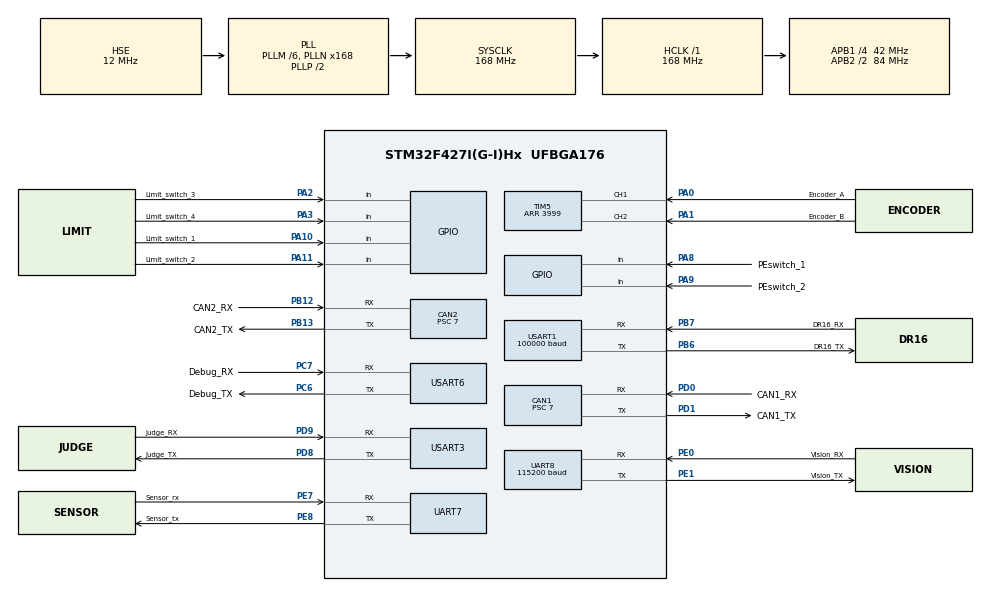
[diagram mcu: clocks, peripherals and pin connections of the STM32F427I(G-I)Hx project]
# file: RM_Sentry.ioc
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CAN1.ABOM=ENABLE
CAN1.AWUM=ENABLE
CAN1.BS1=CAN_BS1_3TQ
CAN1.BS2=CAN_BS2_2TQ
CAN1.CalculateTimeQuantum=166.66666666666669
CAN1.NART=ENABLE
CAN1.Prescaler=7
CAN2.ABOM=ENABLE
CAN2.AWUM=ENABLE
CAN2.BS1=CAN_BS1_3TQ
CAN2.BS2=CAN_BS2_2TQ
CAN2.CalculateTimeQuantum=166.66666666666669
CAN2.NART=ENABLE
CAN2.Prescaler=7
Dma.Request0=USART1_RX
Dma.Request1=UART8_RX
Dma.Request2=USART3_RX
Dma.Request3=UART7_RX
Dma.UART7_RX.3.Direction=DMA_PERIPH_TO_MEMORY
Dma.UART7_RX.3.FIFOMode=DMA_FIFOMODE_DISABLE
Dma.UART7_RX.3.Instance=DMA1_Stream3
Dma.UART7_RX.3.MemDataAlignment=DMA_MDATAALIGN_BYTE
Dma.UART7_RX.3.MemInc=DMA_MINC_ENABLE
Dma.UART7_RX.3.Mode=DMA_CIRCULAR
Dma.UART7_RX.3.PeriphDataAlignment=DMA_PDATAALIGN_BYTE
Dma.UART7_RX.3.PeriphInc=DMA_PINC_DISABLE
Dma.UART7_RX.3.Priority=DMA_PRIORITY_MEDIUM
Dma.UART8_RX.1.Direction=DMA_PERIPH_TO_MEMORY
Dma.UART8_RX.1.FIFOMode=DMA_FIFOMODE_DISABLE
Dma.UART8_RX.1.Instance=DMA1_Stream6
Dma.UART8_RX.1.MemDataAlignment=DMA_MDATAALIGN_BYTE
Dma.UART8_RX.1.MemInc=DMA_MINC_ENABLE
Dma.UART8_RX.1.Mode=DMA_CIRCULAR
Dma.UART8_RX.1.PeriphDataAlignment=DMA_PDATAALIGN_BYTE
Dma.UART8_RX.1.PeriphInc=DMA_PINC_DISABLE
Dma.UART8_RX.1.Priority=DMA_PRIORITY_MEDIUM
Dma.USART1_RX.0.Direction=DMA_PERIPH_TO_MEMORY
Dma.USART1_RX.0.FIFOMode=DMA_FIFOMODE_DISABLE
Dma.USART1_RX.0.Instance=DMA2_Stream2
Dma.USART1_RX.0.MemDataAlignment=DMA_MDATAALIGN_BYTE
Dma.USART1_RX.0.MemInc=DMA_MINC_ENABLE
Dma.USART1_RX.0.Mode=DMA_CIRCULAR
Dma.USART1_RX.0.PeriphDataAlignment=DMA_PDATAALIGN_BYTE
Dma.USART1_RX.0.PeriphInc=DMA_PINC_DISABLE
Dma.USART1_RX.0.Priority=DMA_PRIORITY_MEDIUM
Dma.USART3_RX.2.Direction=DMA_PERIPH_TO_MEMORY
Dma.USART3_RX.2.FIFOMode=DMA_FIFOMODE_DISABLE
Dma.USART3_RX.2.Instance=DMA1_Stream1
Dma.USART3_RX.2.MemDataAlignment=DMA_MDATAALIGN_BYTE
Dma.USART3_RX.2.MemInc=DMA_MINC_ENABLE
Dma.USART3_RX.2.Mode=DMA_CIRCULAR
Dma.USART3_RX.2.PeriphDataAlignment=DMA_PDATAALIGN_BYTE
Dma.USART3_RX.2.PeriphInc=DMA_PINC_DISABLE
Dma.USART3_RX.2.Priority=DMA_PRIORITY_LOW
FREERTOS.INCLUDE_vTaskDelayUntil=1
FREERTOS.Tasks01=Task_Robot_Init,0,128,Robot_Init,Default,NULL,Dynamic,NULL,NULL;Task_Can1_Receive,2,256,Can1_Receive,Default,NULL,Dynamic,NULL,NULL;Task_Can2_Reivece,2,256,Can2_Reivece,Default,NULL,Dynamic,NULL,NULL;Task_Show_Debug,-1,128,Show_Debug,Default,NULL,Dynamic,NULL,NULL;Task_Data_Updata,2,256,Data_Updata,Default,NULL,Dynamic,NULL,NULL;Task_Vision_SendD,0,128,Vision_SendD,Default,NULL,Dynamic,NULL,NULL;Robot_Detec_Task,1,128,Robot_Detec,Default,NULL,Dynamic,NULL,NULL
FREERTOS.configGENERATE_RUN_TIME_STATS=0
FREERTOS.configMAX_TASK_NAME_LEN=18
FREERTOS.configUSE_COUNTING_SEMAPHORES=0
FREERTOS.configUSE_STATS_FORMATTING_FUNCTIONS=0
Mcu.Family=STM32F4
Mcu.Name=STM32F427I(G-I)Hx
Mcu.Package=UFBGA176
NVIC.CAN1_RX0_IRQn=true\:6\:0\:true\:false\:true\:true\:true\:true
NVIC.CAN2_RX0_IRQn=true\:6\:0\:true\:false\:true\:true\:true\:true
NVIC.PriorityGroup=NVIC_PRIORITYGROUP_4
NVIC.TIM6_DAC_IRQn=true\:0\:0\:false\:false\:true\:false\:true\:true
NVIC.TimeBase=TIM6_DAC_IRQn
NVIC.TimeBaseIP=TIM6
NVIC.UART7_IRQn=true\:7\:0\:true\:false\:true\:true\:true\:true
NVIC.UART8_IRQn=true\:7\:0\:true\:false\:true\:true\:true\:true
NVIC.USART1_IRQn=true\:7\:0\:true\:false\:true\:true\:true\:true
NVIC.USART3_IRQn=true\:7\:0\:true\:false\:true\:true\:true\:true
PA0/WKUP.GPIO_Label=Encoder_A
PA0/WKUP.GPIO_PuPd=GPIO_PULLUP
PA0/WKUP.GPIO_Speed=GPIO_SPEED_FREQ_HIGH
PA0/WKUP.Signal=S_TIM5_CH1
PA1.GPIO_Label=Encoder_B
PA1.GPIO_PuPd=GPIO_PULLUP
PA1.GPIO_Speed=GPIO_SPEED_FREQ_HIGH
PA1.Signal=S_TIM5_CH2
PA10.GPIO_Label=Limit_switch_1
PA10.GPIO_PuPd=GPIO_PULLUP
PA10.Signal=GPIO_Input
PA11.GPIO_Label=Limit_switch_2
PA11.GPIO_PuPd=GPIO_PULLUP
PA11.Signal=GPIO_Input
PA13.Mode=Serial_Wire
PA13.Signal=SYS_JTMS-SWDIO
PA14.Mode=Serial_Wire
PA14.Signal=SYS_JTCK-SWCLK
PA2.GPIO_Label=Limit_switch_3
PA2.GPIO_PuPd=GPIO_PULLUP
PA2.Signal=GPIO_Input
PA3.GPIO_Label=Limit_switch_4
PA3.GPIO_PuPd=GPIO_PULLUP
PA3.Signal=GPIO_Input
PA8.GPIO_Label=PEswitch_1
PA8.GPIO_PuPd=GPIO_PULLUP
PA8.Signal=GPIO_Input
PA9.GPIO_Label=PEswitch_2
PA9.GPIO_PuPd=GPIO_PULLUP
PA9.Signal=GPIO_Input
PB12.GPIO_Label=CAN2_RX
PB12.Mode=Slave
PB12.Signal=CAN2_RX
PB13.GPIO_Label=CAN2_TX
PB13.Mode=Slave
PB13.Signal=CAN2_TX
PB6.GPIO_Label=DR16_TX
PB6.Mode=Asynchronous
PB6.Signal=USART1_TX
PB7.GPIO_Label=DR16_RX
PB7.Mode=Asynchronous
PB7.Signal=USART1_RX
PC6.GPIO_Label=Debug_TX
PC6.Mode=Asynchronous
PC6.Signal=USART6_TX
PC7.GPIO_Label=Debug_RX
PC7.Mode=Asynchronous
PC7.Signal=USART6_RX
PD0.GPIO_Label=CAN1_RX
PD0.Mode=Master
PD0.Signal=CAN1_RX
PD1.GPIO_Label=CAN1_TX
PD1.Mode=Master
PD1.Signal=CAN1_TX
PD8.GPIO_Label=Judge_TX
PD8.Mode=Asynchronous
PD8.Signal=USART3_TX
PD9.GPIO_Label=Judge_RX
PD9.Mode=Asynchronous
PD9.Signal=USART3_RX
PE0.GPIO_Label=Vision_RX
PE0.Mode=Asynchronous
PE0.Signal=UART8_RX
PE1.GPIO_Label=Vision_TX
PE1.Mode=Asynchronous
PE1.Signal=UART8_TX
PE7.GPIO_Label=Sensor_rx
PE7.Mode=Asynchronous
PE7.Signal=UART7_RX
PE8.GPIO_Label=Sensor_tx
PE8.Mode=Asynchronous
PE8.Signal=UART7_TX
PH0/OSC_IN.Mode=HSE-External-Oscillator
PH0/OSC_IN.Signal=RCC_OSC_IN
PH1/OSC_OUT.Mode=HSE-External-Oscillator
PH1/OSC_OUT.Signal=RCC_OSC_OUT
ProjectManager.HeapSize=0x200
ProjectManager.StackSize=0x400
ProjectManager.TargetToolchain=MDK-ARM V5.27
RCC.48MHZClocksFreq_Value=48000000
RCC.AHBFreq_Value=168000000
RCC.APB1CLKDivider=RCC_HCLK_DIV4
RCC.APB1Freq_Value=42000000
RCC.APB1TimFreq_Value=84000000
RCC.APB2CLKDivider=RCC_HCLK_DIV2
RCC.APB2Freq_Value=84000000
RCC.APB2TimFreq_Value=168000000
RCC.CortexFreq_Value=168000000
RCC.HCLKFreq_Value=168000000
RCC.HSE_VALUE=12000000
RCC.HSI_VALUE=16000000
RCC.LSE_VALUE=32768
RCC.PLLM=6
RCC.PLLN=168
RCC.PLLQ=7
RCC.PLLSourceVirtual=RCC_PLLSOURCE_HSE
RCC.SYSCLKFreq_VALUE=168000000
RCC.SYSCLKSource=RCC_SYSCLKSOURCE_PLLCLK
RCC.VCOOutputFreq_Value=336000000
SH.S_TIM5_CH1.0=TIM5_CH1,Encoder_Interface
SH.S_TIM5_CH2.0=TIM5_CH2,Encoder_Interface
TIM5.EncoderMode=TIM_ENCODERMODE_TI12
TIM5.Period=3999
UART7.VirtualMode=Asynchronous
UART8.BaudRate=115200
UART8.VirtualMode=Asynchronous
USART1.BaudRate=100000
USART1.VirtualMode=VM_ASYNC
USART3.VirtualMode=VM_ASYNC
USART6.VirtualMode=VM_ASYNC
VP_FREERTOS_VS_CMSIS_V1.Mode=CMSIS_V1
VP_RNG_VS_RNG.Mode=RNG_Activate
VP_SYS_VS_tim6.Mode=TIM6
board=custom

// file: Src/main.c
/* USER CODE BEGIN Header */
/**
  ******************************************************************************
  * @file           : main.c
  * @brief          : Main program body
  ******************************************************************************
  * @attention
  *
  * <h2><center>&copy; Copyright (c) 2021 STMicroelectronics.
  * All rights reserved.</center></h2>
  *
  * This software component is licensed by ST under Ultimate Liberty license
  * SLA0044, the "License"; You may not use this file except in compliance with
  * the License. You may obtain a copy of the License at:
  *                             www.st.com/SLA0044
  *
  ******************************************************************************
  */
/* USER CODE END Header */
#include "main.h"
#include "cmsis_os.h"
#include "can.h"
#include "dma.h"
#include "rng.h"
#include "tim.h"
#include "usart.h"
#include "gpio.h"

void SystemClock_Config(void);
void MX_FREERTOS_Init(void);

int main(void)
{

  /* MCU Configuration--------------------------------------------------------*/

  /* Reset of all peripherals, Initializes the Flash interface and the Systick. */
  HAL_Init();

  /* Configure the system clock */
  SystemClock_Config();

  /* Initialize all configured peripherals */
  MX_GPIO_Init();
  MX_DMA_Init();
  MX_CAN1_Init();
  MX_CAN2_Init();
  MX_USART1_UART_Init();
  MX_UART8_Init();
  MX_USART6_UART_Init();
  MX_USART3_UART_Init();
  MX_TIM5_Init();
  MX_RNG_Init();
  MX_UART7_Init();

  /* Call init function for freertos objects (in freertos.c) */
  MX_FREERTOS_Init();
  /* Start scheduler */
  osKernelStart();

  /* We should never get here as control is now taken by the scheduler */
  /* Infinite loop */
  while (1)
  {

  }
}

void SystemClock_Config(void)
{
  RCC_OscInitTypeDef RCC_OscInitStruct = {0};
  RCC_ClkInitTypeDef RCC_ClkInitStruct = {0};

  /** Configure the main internal regulator output voltage
  */
  __HAL_RCC_PWR_CLK_ENABLE();
  __HAL_PWR_VOLTAGESCALING_CONFIG(PWR_REGULATOR_VOLTAGE_SCALE1);
  /** Initializes the RCC Oscillators according to the specified parameters
  * in the RCC_OscInitTypeDef structure.
  */
  RCC_OscInitStruct.OscillatorType = RCC_OSCILLATORTYPE_HSE;
  RCC_OscInitStruct.HSEState = RCC_HSE_ON;
  RCC_OscInitStruct.PLL.PLLState = RCC_PLL_ON;
  RCC_OscInitStruct.PLL.PLLSource = RCC_PLLSOURCE_HSE;
  RCC_OscInitStruct.PLL.PLLM = 6;
  RCC_OscInitStruct.PLL.PLLN = 168;
  RCC_OscInitStruct.PLL.PLLP = RCC_PLLP_DIV2;
  RCC_OscInitStruct.PLL.PLLQ = 7;
  if (HAL_RCC_OscConfig(&RCC_OscInitStruct) != HAL_OK)
  {
    Error_Handler();
  }
  /** Initializes the CPU, AHB and APB buses clocks
  */
  RCC_ClkInitStruct.ClockType = RCC_CLOCKTYPE_HCLK|RCC_CLOCKTYPE_SYSCLK
                              |RCC_CLOCKTYPE_PCLK1|RCC_CLOCKTYPE_PCLK2;
  RCC_ClkInitStruct.SYSCLKSource = RCC_SYSCLKSOURCE_PLLCLK;
  RCC_ClkInitStruct.AHBCLKDivider = RCC_SYSCLK_DIV1;
  RCC_ClkInitStruct.APB1CLKDivider = RCC_HCLK_DIV4;
  RCC_ClkInitStruct.APB2CLKDivider = RCC_HCLK_DIV2;

  if (HAL_RCC_ClockConfig(&RCC_ClkInitStruct, FLASH_LATENCY_5) != HAL_OK)
  {
    Error_Handler();
  }
}

void HAL_TIM_PeriodElapsedCallback(TIM_HandleTypeDef *htim)
{
  if (htim->Instance == TIM6) {
    HAL_IncTick();
  }
}

void Error_Handler(void)
{
}

/************************ (C) COPYRIGHT STMicroelectronics *****END OF FILE****/

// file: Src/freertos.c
/* USER CODE BEGIN Header */
/**
 ******************************************************************************
 * File Name          : freertos.c
 * Description        : Code for freertos applications
 ******************************************************************************
 * @attention
 *
 * <h2><center>&copy; Copyright (c) 2021 STMicroelectronics.
 * All rights reserved.</center></h2>
 *
 * This software component is licensed by ST under Ultimate Liberty license
 * SLA0044, the "License"; You may not use this file except in compliance with
 * the License. You may obtain a copy of the License at:
 *                             www.st.com/SLA0044
 *
 ******************************************************************************
 */
/* USER CODE END Header */

#include "FreeRTOS.h"
#include "task.h"
#include "main.h"
#include "cmsis_os.h"

/* USER CODE BEGIN Includes */
#include "User_common.h"
#include "Handle.h"
#include "BREAK.h"

/* USER CODE END Includes */

/* USER CODE BEGIN Variables */

// CAN队列句柄
osMessageQId CAN1_Queue;
osMessageQId CAN2_Queue;
//控制任务句柄
osThreadId RobotCtrl_Handle;
//任务入口函数
void Robot_Control(void const *argument);

/* USER CODE END Variables */
osThreadId Task_Robot_InitHandle;
osThreadId Task_Can1_ReceiveHandle;
osThreadId Task_Can2_ReiveceHandle;
osThreadId Task_Show_DebugHandle;
osThreadId Task_Data_UpdataHandle;
osThreadId Task_Vision_SendDHandle;
osThreadId Robot_Detec_TaskHandle;

void Robot_Init(void const *argument);
void Can1_Receive(void const *argument);
void Can2_Reivece(void const *argument);
void Show_Debug(void const *argument);
void Data_Updata(void const *argument);
void Vision_SendD(void const *argument);
void Robot_Detec(void const *argument);

void MX_FREERTOS_Init(void); /* (MISRA C 2004 rule 8.1) */

/* GetIdleTaskMemory prototype (linked to static allocation support) */
void vApplicationGetIdleTaskMemory(StaticTask_t **ppxIdleTaskTCBBuffer, StackType_t **ppxIdleTaskStackBuffer, uint32_t *pulIdleTaskStackSize);

/* USER CODE BEGIN GET_IDLE_TASK_MEMORY */
static StaticTask_t xIdleTaskTCBBuffer;
static StackType_t xIdleStack[configMINIMAL_STACK_SIZE];

void vApplicationGetIdleTaskMemory(StaticTask_t **ppxIdleTaskTCBBuffer, StackType_t **ppxIdleTaskStackBuffer, uint32_t *pulIdleTaskStackSize)
{
	*ppxIdleTaskTCBBuffer = &xIdleTaskTCBBuffer;
	*ppxIdleTaskStackBuffer = &xIdleStack[0];
	*pulIdleTaskStackSize = configMINIMAL_STACK_SIZE;
	/* place for user code */
}
/* USER CODE END GET_IDLE_TASK_MEMORY */

void MX_FREERTOS_Init(void)
{

	/* USER CODE BEGIN RTOS_QUEUES */
	/* add queues, ... */

	CAN1_Queue = xQueueCreate(32, sizeof(CAN_Rx_TypeDef));
	CAN2_Queue = xQueueCreate(32, sizeof(CAN_Rx_TypeDef));

	/* USER CODE END RTOS_QUEUES */

	/* Create the thread(s) */
	/* definition and creation of Task_Robot_Init */
	osThreadDef(Task_Robot_Init, Robot_Init, osPriorityNormal, 0, 128);
	Task_Robot_InitHandle = osThreadCreate(osThread(Task_Robot_Init), NULL);

	/* definition and creation of Task_Can1_Receive */
	osThreadDef(Task_Can1_Receive, Can1_Receive, osPriorityHigh, 0, 256);
	Task_Can1_ReceiveHandle = osThreadCreate(osThread(Task_Can1_Receive), NULL);

	/* definition and creation of Task_Can2_Reivece */
	osThreadDef(Task_Can2_Reivece, Can2_Reivece, osPriorityHigh, 0, 256);
	Task_Can2_ReiveceHandle = osThreadCreate(osThread(Task_Can2_Reivece), NULL);

	/* definition and creation of Task_Show_Debug */
	osThreadDef(Task_Show_Debug, Show_Debug, osPriorityBelowNormal, 0, 128);
	Task_Show_DebugHandle = osThreadCreate(osThread(Task_Show_Debug), NULL);

	/* definition and creation of Task_Data_Updata */
	osThreadDef(Task_Data_Updata, Data_Updata, osPriorityHigh, 0, 256);
	Task_Data_UpdataHandle = osThreadCreate(osThread(Task_Data_Updata), NULL);

	/* definition and creation of Task_Vision_SendD */
	osThreadDef(Task_Vision_SendD, Vision_SendD, osPriorityNormal, 0, 128);
	Task_Vision_SendDHandle = osThreadCreate(osThread(Task_Vision_SendD), NULL);

	/* definition and creation of Robot_Detec_Task */
	osThreadDef(Robot_Detec_Task, Robot_Detec, osPriorityAboveNormal, 0, 128);
	Robot_Detec_TaskHandle = osThreadCreate(osThread(Robot_Detec_Task), NULL);

}

void Robot_Init(void const *argument)
{
	/* USER CODE BEGIN Robot_Init */
	/* Infinite loop */

	// DR16
	__HAL_UART_CLEAR_IDLEFLAG(&huart1);

	__HAL_UART_ENABLE_IT(&huart1, UART_IT_IDLE);

	USART_RX_DMA_ENABLE(&huart1, DR16_RxBUFF, DR16_RxBUFF_LEN + 2);

	// Sensor_R
	__HAL_UART_CLEAR_IDLEFLAG(&huart7);

	__HAL_UART_ENABLE_IT(&huart7, UART_IT_IDLE);

	USART_RX_DMA_ENABLE(&huart7, SENSOR_R_DataBuff, SENSOR_BuffSize);

	// Sensor_L
	__HAL_UART_CLEAR_IDLEFLAG(&huart8);

	__HAL_UART_ENABLE_IT(&huart8, UART_IT_IDLE);

	USART_RX_DMA_ENABLE(&huart8, SENSOR_L_DataBuff, SENSOR_BuffSize);

		//【21赛季】
		//视觉
//		__HAL_UART_CLEAR_IDLEFLAG(&huart8);

//		__HAL_UART_ENABLE_IT(&huart8, UART_IT_IDLE);

//		USART_RX_DMA_ENABLE(&huart8, Vision_DataBuff, Vision_BuffSize);

	//裁判系统
	__HAL_UART_CLEAR_IDLEFLAG(&huart3);

	__HAL_UART_ENABLE_IT(&huart3, UART_IT_IDLE);

	USART_RX_DMA_ENABLE(&huart3, JudgeSystem_rxBuff, JUDGESYSTEM_PACKSIZE);

	//编码器模式初始化
	// AB
	HAL_TIM_Encoder_Start(&htim5, TIM_CHANNEL_ALL);

	//先使能设备，确保CAN可以正常通讯，可以获取电机启动前的数据
	// CAN总线的初始化
	CAN1_Config();

	CAN2_Config();

	//上位机的初始化
	__HAL_UART_ENABLE(&huart6);

	//由于使能了CAN中断，所以CAN中断会打断任务，而进行CAN通讯，从而获得数据
	//获取数据后会发给队列，而队列不为空，则CAN_Reivece任务就解除阻塞态
	//在CAN_Reivece中根据对应的ID解析不同的数据，从而获取各电机的数据
	//而此过程需要时间，得等待数据稳定
	HAL_Delay(6000);

	//控制的初始化
	//有了电机启动前的初始数据，所以要对控制进行初始化，防止炸机
	//而为了CAN队列有数据时，CAN_Reivece就可以解析数据，所以CAN_Reivece任务优先级得高于Robot_Init任务
	//而下面初始化控制却不能被高优先级任务给打断
	//所以应该进入临界区
	//为什么进入临界区就可以呢？因为进入临界区，CAN中断就会被屏蔽，CAN中断被屏蔽了就无法传输数据，CAN队列就无数据，CAN_Reivece任务就被阻塞
	taskENTER_CRITICAL(); //进入临界区

	//控制状态的初始化
	Robots_Control_FUN.Init_RobotStatus();
	//云台的初始化
	Cloud_FUN.Cloud_Init();
	//底盘初始化
	Chassis_FUN.Chassis_Init();
	//视觉初始化
	Vision_Control_Init();
	//攻击初始化
	Attack_FUN.Attack_Init();

	//控制初始化完成后，要创建控制任务
	//由于控制任务的优先级只能设为最高，不然控制起来会很飘。
	//而且只能在控制初始化完之后才可以控制。
	//所以只能在控制初始化中去创建此任务
	/*
	xTaskCreate((TaskFunction_t)Robot_Control,
				(const char *)"Task_Robot_Control",
				(configSTACK_DEPTH_TYPE)RobotCtrl_Size,
				(void *)NULL,
				(UBaseType_t)RobotCtrl_Priority,
				(TaskHandle_t *)&RobotCtrl_Handle);
	*/
	osThreadDef(Task_Robot_Control, Robot_Control, RobotCtrl_Priority, 0, RobotCtrl_Size);
	RobotCtrl_Handle = osThreadCreate(osThread(Task_Robot_Control), NULL);

	taskEXIT_CRITICAL(); //退出临界区

	//由于初始化任务只需执行一次，执行完后就可以删除了
	vTaskDelete(NULL);

	//由于初始化函数只需执行一次，所以无需死循环
	//  for(;;)
	//  {
	//    osDelay(1);
	//  }
	/* USER CODE END Robot_Init */
}

void Can1_Receive(void const *argument)
{
	/* USER CODE BEGIN Can1_Receive */

	// CAN1接收队列发送的数据的结构体变量
	CAN_Rx_TypeDef CAN1_Rx_Structure;

	//出队的状态变量
	BaseType_t ExitQueue_Status;

	/* Infinite loop */
	for (;;)
	{
		//死等队列有消息
		ExitQueue_Status = xQueueReceive(CAN1_Queue, &CAN1_Rx_Structure, portMAX_DELAY);
		//出队成功
		if (ExitQueue_Status == pdTRUE)
		{
			/*Cloud*/
			if (CAN1_Rx_Structure.CAN_RxMessage.StdId == GM6020_READID_START)
			{
				//云台的yaw轴
				GM6020_Yaw_getInfo(CAN1_Rx_Structure);
			}
			if (CAN1_Rx_Structure.CAN_RxMessage.StdId == (GM6020_READID_START + 1))
			{
				//云台Pitch轴
				GM6020_Pitch_getInfo(CAN1_Rx_Structure);
			}
			/*Shoot*/
//			if (CAN1_Rx_Structure.CAN_RxMessage.StdId == M3508s1_START || CAN1_Rx_Structure.CAN_RxMessage.StdId == (M3508s1_START + 1))
//			{
//				M3508s1_getInfo(CAN1_Rx_Structure);
//			}
//			if (CAN1_Rx_Structure.CAN_RxMessage.StdId == M2006_READID_START + 2)
//			{
//				M2006_getInfo(CAN1_Rx_Structure);
//			}
			/*Chassis*/
			if (CAN1_Rx_Structure.CAN_RxMessage.StdId == M3508_READID_START + 3 || CAN1_Rx_Structure.CAN_RxMessage.StdId == M3508_READID_START + 2)
			{
				M3508_getInfo(CAN1_Rx_Structure);
			}

		}

		//    osDelay(1);
	}
	/* USER CODE END Can1_Receive */
}

void Can2_Reivece(void const *argument)
{
	/* USER CODE BEGIN Can2_Reivece */
	// CAN2接收队列发送的数据的结构体变量
	CAN_Rx_TypeDef CAN2_Rx_Structure;
	//出队的状态变量
	BaseType_t ExitQueue_Status;

	/* Infinite loop */
	for (;;)
	{
		//死等队列有消息
		ExitQueue_Status = xQueueReceive(CAN2_Queue, &CAN2_Rx_Structure, portMAX_DELAY);
		//出队成功
		if (ExitQueue_Status == pdTRUE)
		{
			/*DJIC_IMU*/
			// IMU_Euler
			if (CAN2_Rx_Structure.CAN_RxMessage.StdId == DJI_C_Angle)
			{
				DJI_C_Euler_getInfo(CAN2_Rx_Structure);
			}
			// Gyro
			if (CAN2_Rx_Structure.CAN_RxMessage.StdId == DJI_C_Gyro)
			{
				DJI_C_Gyro_getInfo(CAN2_Rx_Structure);
			}
		}

		//    osDelay(1);
	}
	/* USER CODE END Can2_Reivece */
}

/* USER CODE BEGIN Header_Show_Debug */
/**
 * @brief Function implementing the Task_Show_Debug thread.
 * @param argument: Not used
 * @retval None
 */

// uint32_t Control_FPS;
// uint32_t Control_LastWorldTimes;
/* USER CODE END Header_Show_Debug */
void Show_Debug(void const *argument)
{
	/* USER CODE BEGIN Show_Debug */
	/* Infinite loop */
	for (;;)
	{
		//		Debug_addData(Cloud.Yaw_Angle_pid->result,2);
		//		Debug_addData (*Cloud.gyro_z,3);
		//		Debug_addData(ext_game_robot_state.data.shooter_id1_17mm_cooling_rate,2);
		//		Debug_addData(ext_game_robot_state.data.shooter_id1_17mm_cooling_limit,3);
		//		Debug_addData(Barrel.user_realHeat,4);
		//		Debug_addData(Barrel.judge_realHeat,5);
		//
		//		Debug_show(6);
		ANO_Send_Data_Init(0, 0, ext_power_heat_data.data.chassis_power_buffer, 0, Chassis.EM->targetSpeed, Chassis.EM->realSpeed, 0, 0);
		ANO_Send_Data_V4();

		//输出速率不可过快
		vTaskDelay(5);
	}
	/* USER CODE END Show_Debug */
}

void Data_Updata(void const *argument)
{
	/* USER CODE BEGIN Data_Updata */
	portTickType xLastWakeTime;
	xLastWakeTime = xTaskGetTickCount();
	const TickType_t TimeIncrement = pdMS_TO_TICKS(1); //每十毫秒强制进入总控制
	/* Infinite loop */
	for (;;)
	{
		//更新传感器数据
		Chassis_FUN.Updata_Chassis_Sensor();
		//跟新陀螺仪数据
		Updata_Hand_Euler_Gyro_Data();
		//更新视觉数据
		Updata_VisionData_Hand();
		//更新发送给视觉的陀螺仪数据
		// Updata_SendVision_Stata();

		//数据更新任务只用来更新传感器的就可以了，其他控制标志位的，不要在此更新，在控制中更新，保证时序的一致
		//更新控制状态
		Robots_Control_FUN.Updata_RobotStatus();

		vTaskDelayUntil(&xLastWakeTime, TimeIncrement);
	}
	/* USER CODE END Data_Updata */
}

void Vision_SendD(void const *argument)
{
	/* USER CODE BEGIN Vision_SendD */
	/* Infinite loop */
	for (;;)
	{
		//  Update_Vision_SendData();
		if (send_to_C == 1) //遥控器数据
		{
			DR16_send_master_control();
			// send_to_C_times++;
			send_to_C = 0;
		}
		if (send_to_C_JS_HURT == 1) //伤害状态数据，伤害发生后发送
		{
			JS_send_HURT_control();
			send_to_C_JS_HURT = 0;

		}
		if (send_to_C_JS_SHOOT == 1) //实时射击数据，子弹发射后发送
		{
			JS_send_SHOOT_control();
			// JS_SEND_times++;
			send_to_C_JS_SHOOT = 0;
		}
		if (send_to_C_JS_STATUS == 1) //裁判系统_状态数据_10Hz 周期发送
		{
			// send_to_C_STATUS_times++;
			JS_send_STATUS_control();
			send_to_C_JS_STATUS = 0;
		}
		if (send_to_C_JS_HEAT == 1)
		{
			JS_send_HEAT_control();
			send_to_C_JS_HEAT = 0;
		}
		if(send_to_C_JS_ROBOTHP == 1)
		{
			JS_send_robotHP_control();
			send_to_C_JS_ROBOTHP = 0;
		}
		if(send_to_C_JS_GAMESTATUS == 1)
		{
			JS_send_gamestatus_control();
			send_to_C_JS_GAMESTATUS = 0;
		}

		if (send_to_C_IN_END == 1)
		{
			PLACE_send_control();
			//	place_SEND_times++;
			send_to_C_IN_END = 0;
		}
		if(send_to_C_B0_FLAG == 1)
		{
			disturbB0_send_control();
			send_to_C_B0_FLAG = 0;
		}

		//编码器值
		Encoder_Send_control();

		//		Update_Vision_SendData();
		vTaskDelay(1);
	}
	/* USER CODE END Vision_SendD */
}

void Robot_Detec(void const *argument)
{
	/* USER CODE BEGIN Robot_Detec */
	portTickType xLastWakeTime;
	xLastWakeTime = xTaskGetTickCount();
	const TickType_t TimeIncrement = pdMS_TO_TICKS(200); //每200毫秒强制进入总控制,检测任务的 优先级 和 检测不可过频繁
	/* Infinite loop */
	for (;;)
	{
		Offline_Clear_FPS();
		IMUFPS_0_Emergency_status();
		vTaskDelayUntil(&xLastWakeTime, TimeIncrement);
	}
	/* USER CODE END Robot_Detec */
}

/* USER CODE BEGIN Application */
void Robot_Control(void const *argument)
{
	/* USER CODE BEGIN RobotControl */
	portTickType xLastWakeTime;
	xLastWakeTime = xTaskGetTickCount();
	const TickType_t TimeIncrement = pdMS_TO_TICKS(2); //每十毫秒强制进入总控制
	/* Infinite loop */
	for (;;)
	{
		//底盘控制执行
		Chassis_FUN.Chassis_Control();
		//云台控制执行
//		Cloud_FUN.Cloud_Control();
		//攻击控制执行
//		Attack_FUN.Attack_Processing();

		// CAN发送数据给电机
		//云台
//		GM6020_SetVoltage(Cloud.yaw_output, Cloud.pitch_output, 0, 0);
		//摩擦轮
		// M3508s1_setCurrent(Shoot.Shoot1->OutputCurrent,Shoot.Shoot2->OutputCurrent,0,0);
		//拨盘
		// M2006_setCurrent(0,0,M2006s[2].OutputCurrent,0);
		//底盘
		// M3508_setCurrent(0,0,0,Chassis.EM->OutputCurrent);
		//由于他们都是同个CAN1发送的
		M3508s1_setCurrent(Shoot.Shoot1->OutputCurrent, Shoot.Shoot2->OutputCurrent, send_to_break, Chassis.EM->OutputCurrent);
		vTaskDelayUntil(&xLastWakeTime, TimeIncrement);
	}

	/* USER CODE END RobotControl */
}

/* USER CODE END Application */

/************************ (C) COPYRIGHT STMicroelectronics *****END OF FILE****/
